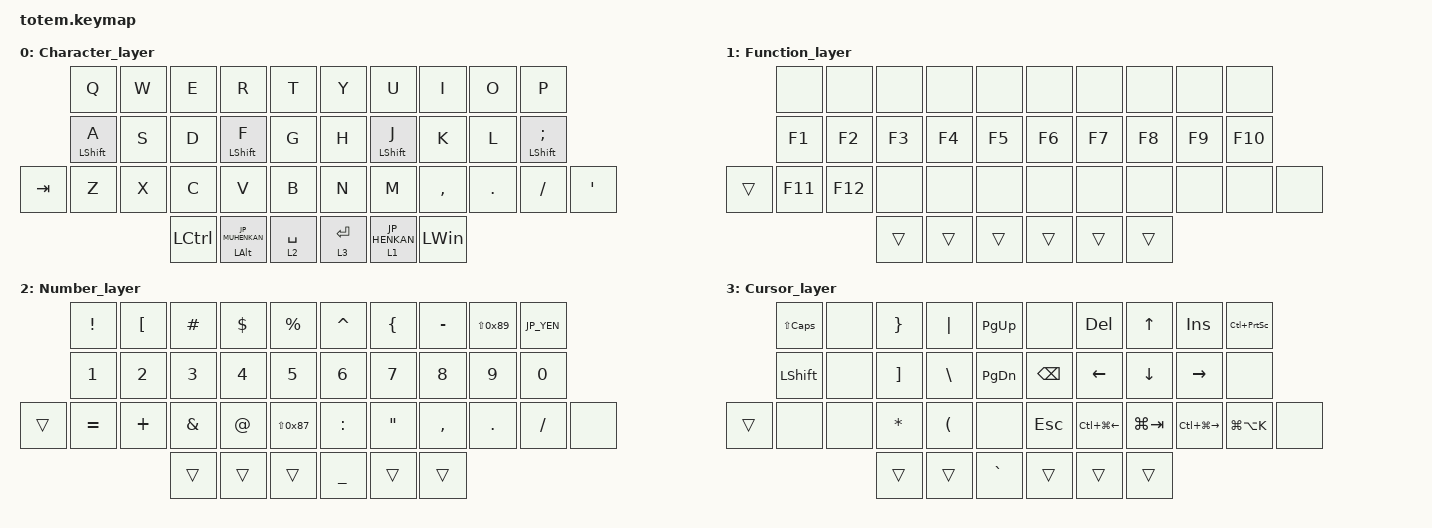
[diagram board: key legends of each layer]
// TOTEM
// -------------------------------------------------------------------------------------------------
#include <behaviors.dtsi>
#include <dt-bindings/zmk/bt.h>
#include <dt-bindings/zmk/keys.h>
// -------------------------------------------------------------------------------------------------
&mt {
    quick-tap-ms = <100>;
    global-quick-tap;
    flavor = "tap-preferred";
    tapping-term-ms = <250>;
};
// -------------------------------------------------------------------------------------------------
/ {
    combos {
        compatible = "zmk,combos";

        combo_BT_SEL_0 {
            bindings = <&bt BT_SEL 0>;
            key-positions = <6 7 8>;
            timeout-ms = <40>;
        };

        combo_BT_SEL_1 {
            bindings = <&bt BT_SEL 1>;
            key-positions = <16 17 18>;
            timeout-ms = <40>;
        };

        combo_BT_SEL_2 {
            bindings = <&bt BT_SEL 2>;
            key-positions = <27 28 29>;
            timeout-ms = <40>;
        };

        combo_BT_SEL_3 {
            bindings = <&bt BT_SEL 3>;
            key-positions = <1 2 3>;
            timeout-ms = <40>;
        };

        combo_BT_SEL_4 {
            bindings = <&bt BT_SEL 4>;
            key-positions = <11 12 13>;
            timeout-ms = <40>;
        };

        combo_BT_CLR {
            bindings = <&bt BT_CLR>;
            key-positions = <22 23 24>;
            timeout-ms = <40>;
        };
    };

// -------------------------------------------------------------------------------------------------
// OS設定を日本語キーボードのまま使用するための変換定義
#define JP_DQUOTE       AT                // "
#define JP_AMPERSAND    CARET             // &
#define JP_QUOTE        AMPERSAND         // '
#define JP_EQUAL        UNDER             // =
#define JP_CARET        EQUAL             // ^
#define JP_YEN          0x89              // ¥
#define JP_PLUS         COLON             // +
#define JP_TILDE        PLUS              // ~
#define JP_PIPE         LS(0x89)          // |
#define JP_AT           LEFT_BRACKET      // @
#define JP_COLON        SINGLE_QUOTE      // :
#define JP_ASTERISK     DOUBLE_QUOTES     // *
#define JP_BACKQUOTE    LEFT_BRACE        // `
#define JP_UNDERSCORE   LS(0x87)          // _
#define JP_LBRACKET     RIGHT_BRACKET     // [
#define JP_RBRACKET     BACKSLASH         // ]
#define JP_LPAREN       ASTERISK          // (
#define JP_RPAREN       LEFT_PARENTHESIS  // )
#define JP_LBRACE       RIGHT_BRACE       // {
#define JP_RBRACE       PIPE              // }
#define JP_KANA         LANGUAGE_1        // かな
#define JP_EISU         LANGUAGE_2        // 英数
#define JP_HANZEN       GRAVE             // 半角/全角
#define JP_HENKAN       0x8A              // 変換
#define JP_MUHENKAN     0x8B              // 無変換

// -------------------------------------------------------------------------------------------------

    behaviors {
        td0: tap_dance_0 {
            compatible = "zmk,behavior-tap-dance";
            #binding-cells = <0>;
            tapping-term-ms = <200>;
            bindings = <&kp JP_HANZEN>, <&kp JP_HENKAN>, <&kp JP_MUHENKAN>;
        };
    };

// -------------------------------------------------------------------------------------------------
    keymap {
        compatible = "zmk,keymap";

        Character_layer {
            bindings = <
        &kp Q         &kp W               &kp E            &kp R             &kp T             &kp Y             &kp U              &kp I           &kp O            &kp P
        &mt LSHIFT A  &kp S               &kp D            &mt LSHIFT F      &kp G             &kp H             &mt LSHIFT J       &kp K           &kp L            &mt LSHIFT SEMICOLON
&kp TAB &kp Z         &kp X               &kp C            &kp V             &kp B             &kp N             &kp M              &kp COMMA       &kp PERIOD       &kp SLASH        &kp JP_COLON
                                          &kp LCTRL &mt LEFT_ALT JP_MUHENKAN &lt 2 SPACE       &lt 3 ENTER       &lt 1 JP_HENKAN    &kp LEFT_WIN
            >;
        };

        Function_layer {
            bindings = <
        &none         &none               &none            &none             &none             &none             &none              &none           &none            &none
        &kp F1        &kp F2              &kp F3           &kp F4            &kp F5            &kp F6            &kp F7             &kp F8          &kp F9           &kp F10
&trans  &kp F11       &kp F12             &none            &none             &none             &none             &none              &none           &none            &none            &none
                                          &trans           &trans            &trans            &trans            &trans             &trans
            >;
        };

        Number_layer {
            bindings = <
        &kp EXCL      &kp JP_AT           &kp HASH         &kp DLLR          &kp PRCNT         &kp JP_AMPERSAND  &kp JP_BACKQUOTE   &kp MINUS       &kp JP_PIPE      &kp JP_YEN
        &kp NUMBER_1  &kp NUMBER_2        &kp NUMBER_3     &kp NUMBER_4      &kp NUMBER_5      &kp NUMBER_6      &kp NUMBER_7       &kp NUMBER_8    &kp NUMBER_9     &kp NUMBER_0
&trans  &kp JP_CARET  &kp JP_TILDE        &kp JP_QUOTE     &kp JP_DQUOTE     &kp JP_UNDERSCORE &kp JP_PLUS       &kp JP_ASTERISK    &kp COMMA       &kp PERIOD       &kp SLASH        &none
                                          &trans           &trans            &trans            &kp JP_EQUAL      &trans             &trans
            >;
        };

        Cursor_layer {
            bindings = <
        &kp LS(CAPS)  &none               &kp JP_LBRACE    &kp JP_RBRACE     &kp PAGE_UP       &none             &kp DELETE         &kp UP_ARROW    &kp INSERT       &kp LC(PRINTSCREEN)
        &kp LSHIFT    &none               &kp JP_LBRACKET  &kp JP_RBRACKET   &kp PAGE_DOWN     &kp BACKSPACE     &kp LEFT_ARROW     &kp DOWN_ARROW  &kp RIGHT_ARROW  &none
&trans  &none         &none               &kp JP_LPAREN    &kp JP_RPAREN     &none             &kp ESCAPE        &kp LC(LG(LEFT_ARROW)) &kp LG(TAB) &kp LC(LG(RIGHT_ARROW)) &kp LG(LA(K)) &none
                                          &trans           &trans            &kp JP_HANZEN     &trans            &trans             &trans
            >;
        };
        
    };
};
